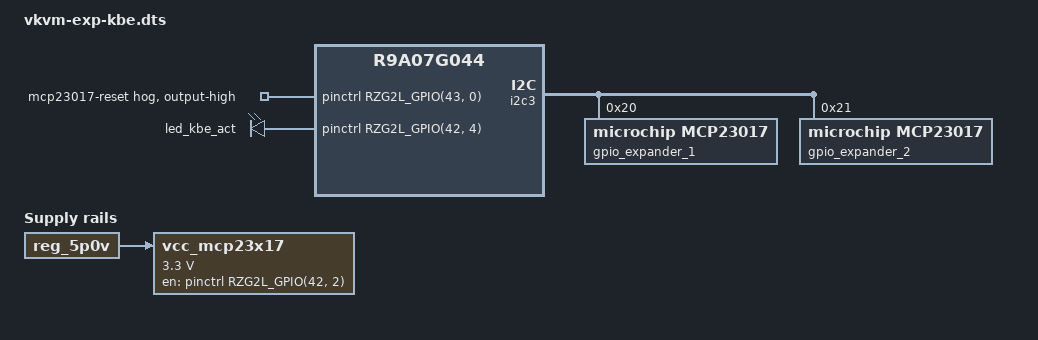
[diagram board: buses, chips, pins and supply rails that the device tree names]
/*
 * Copyright 2026 Vekatech
 *
 * This program is free software; you can redistribute it and/or
 * modify it under the terms of the GNU General Public License
 * as published by the Free Software Foundation; either version 2
 * of the License, or (at your option) any later version.
 *
 * This program is distributed in the hope that it will be useful,
 * but WITHOUT ANY WARRANTY; without even the implied warranty of
 * MERCHANTABILITY or FITNESS FOR A PARTICULAR PURPOSE. See the
 * GNU General Public License for more details.
 */

/dts-v1/;
/plugin/;

#include <dt-bindings/pinctrl/rzg2l-pinctrl.h>
#include <dt-bindings/gpio/gpio.h>

/{
	compatible = "vekatech,vk-vmcarrier", 
	             "renesas,r9a07g044l2", 
		     "renesas,r9a07g044";
};

&{/} {
	vcc_mcp23x17: regulator-mcp23x17 {
		compatible = "regulator-fixed";
		regulator-name = "vcc-mcp23x17";

		regulator-min-microvolt = <3300000>;
		regulator-max-microvolt = <3300000>;

		gpio = <&pinctrl RZG2L_GPIO(42, 2) GPIO_ACTIVE_HIGH>;
		enable-active-high;

		startup-delay-us = <50000>;

		/*
		 * Keep the expander supply enabled throughout operation.
		 */
		regulator-always-on;
		regulator-boot-on;
		vin-supply = <&reg_5p0v>;
	};
};


&pinctrl {
	mcp23017_reset_deassert {
		gpio-hog;
		gpios = <RZG2L_GPIO(43, 0) GPIO_ACTIVE_HIGH>;
		output-high;
		line-name = "mcp23017-reset";
	};
};

&leds {
		pinctrl-names = "default";
		led_kbe_act {
			gpios = <&pinctrl RZG2L_GPIO(42, 4) GPIO_ACTIVE_HIGH>;
			default-state = "off";
		};
};

&i2c3 {
	#address-cells = <1>;
	#size-cells = <0>;

	gpio_expander_1: gpio@20 {
		compatible = "microchip,mcp23017";
		reg = <0x20>;

		/*reset-gpios = <&pinctrl RZG2L_GPIO(43, 0) GPIO_ACTIVE_LOW>;*/

		gpio-controller;
		#gpio-cells = <2>;

		gpio-line-names =
			"P1",  "P2",  "P3",  "P4",
			"P5",  "P6",  "P7",  "P8",
			"P9",  "P10", "P11", "P12",
			"P13", "P14", "P15", "P16";

		status = "okay";
	};

	gpio_expander_2: gpio@21 {
		compatible = "microchip,mcp23017";
		reg = <0x21>;

		/*reset-gpios = <&pinctrl RZG2L_GPIO(43, 0) GPIO_ACTIVE_LOW>;*/

		gpio-controller;
		#gpio-cells = <2>;

		gpio-line-names =
			"P17", "P18", "P19", "P20",
			"P21", "P22", "P23", "P24",
			"P25", "P26", "P27", "P28",
			"P29", "P30", "P31", "P32";

		status = "okay";
	};
};

